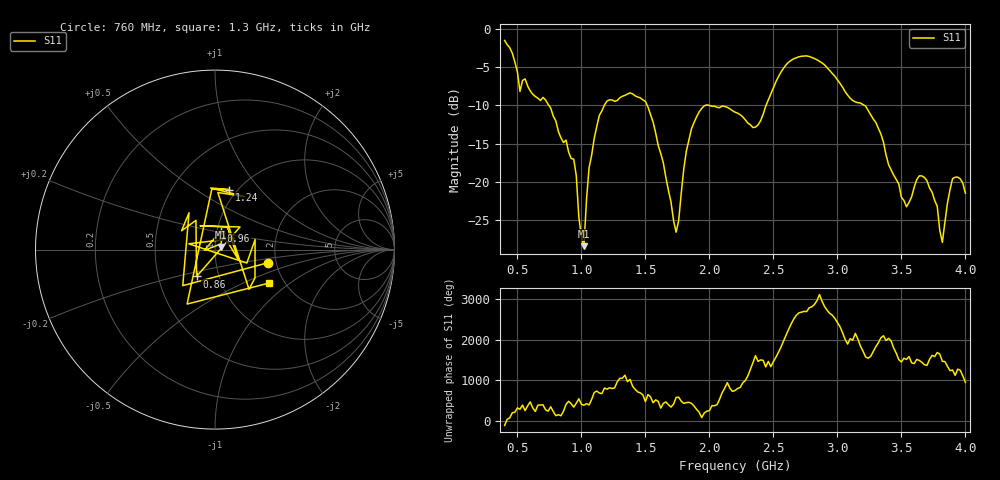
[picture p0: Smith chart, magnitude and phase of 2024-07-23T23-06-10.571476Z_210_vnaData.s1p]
!Created with skrf (http://scikit-rf.org).
# Hz S RI R 50.0
!freq ReS11 ImS11
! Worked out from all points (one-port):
!   181 points, 400 MHz to 4 GHz, reference 50 ohm
!   lowest |S11| = -28.4 dB at 1.02 GHz (marker M1), VSWR 1.08, Z = 53.6 + j1.58 ohm
!   |S11| at or under -10 dB: 1.515 GHz to 1.966 GHz (451.6 MHz wide, 25.9 % of centre); 2.001 GHz to 2.442 GHz (440.7 MHz wide, 19.8 % of centre); 3.212 GHz to end of sweep (the widest 3 of 4)
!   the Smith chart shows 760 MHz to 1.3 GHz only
!   S11 on the Smith chart (normalised r, x): 760 MHz: 1.81, -0.29; 860 MHz: 0.78, -0.24; 960 MHz: 1.04, +0.22; 1.24 GHz: 0.92, +0.70; 1.3 GHz: 1.68, -0.71
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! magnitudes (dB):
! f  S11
! 400 MHz  -1.5
! 520 MHz  -8.2
! 760 MHz  -10.3
! 860 MHz  -14.8
! 960 MHz  -19.2
! 980 MHz  -24.6
! 1.02 GHz  -28.4
! 1.06 GHz  -18.1
! 1.1 GHz  -14.3
! 1.24 GHz  -9.3
! 1.3 GHz  -9.0
! 1.5 GHz  -9.5
! 1.74 GHz  -26.6
! 1.76 GHz  -25.0
! 1.82 GHz  -16.0
! 1.92 GHz  -10.8
! 2.2 GHz  -10.9
! 2.38 GHz  -12.5
! 2.66 GHz  -3.9
! 2.88 GHz  -4.4
! 3.1 GHz  -9.0
! 3.3 GHz  -12.2
! 3.56 GHz  -22.6
! 3.68 GHz  -19.4
! 3.78 GHz  -23.2
! 3.82 GHz  -27.9
! 3.9 GHz  -19.6
! 4 GHz  -21.5
